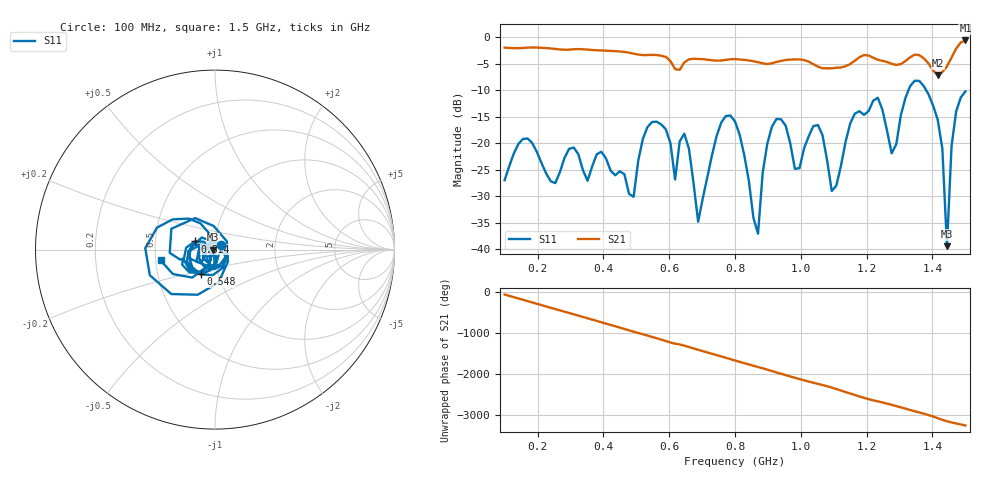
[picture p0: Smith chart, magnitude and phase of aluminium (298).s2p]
! NanoVNA-App
! Date: 2025-09-25 14:57:36
! Start: 100MHz Stop: 1,5GHz Points: 101
! S-Parameter data: F S11 S21 S12 S22
# Hz S RI R 50
!  Frequency  S11_Real  S11_Imag  S21_Real  S21_Imag  S12_Real  S12_Imag  S22_Real  S22_Imag
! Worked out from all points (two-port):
!   101 points, 100 MHz to 1.5 GHz, reference 50 ohm
!   highest |S21| = -0.57 dB at 1.5 GHz (marker M1); lowest = -7.1 dB at 1.416 GHz (marker M2)
!   |S21| within 3 dB of the highest: start of sweep to 583.1 MHz; 1.46 GHz to end of sweep (the widest 2 of 4)
!   lowest |S11| = -39.4 dB at 1.444 GHz (marker M3), VSWR 1.02, Z = 48.9 - j0.01 ohm
!   |S11| at or under -10 dB: start of sweep to 1.327 GHz; 1.381 GHz to end of sweep
!   S12 and S22 are empty: the file has one direction only
!   S11 on the Smith chart (normalised r, x): 100 MHz: 1.07, +0.06; 548 MHz: 0.82, -0.23; 814 MHz: 0.80, +0.07; 1.5 GHz: 0.53, -0.07
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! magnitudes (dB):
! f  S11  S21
! 100 MHz  -27.0  -1.9
! 338 MHz  -25.1  -2.2
! 492 MHz  -30.1  -3.1
! 548 MHz  -16.0  -3.3
! 576 MHz  -16.4  -3.5
! 618 MHz  -26.8  -6.0
! 646 MHz  -18.2  -4.7
! 688 MHz  -34.8  -4.1
! 800 MHz  -15.9  -4.1
! 814 MHz  -18.3  -4.2
! 870 MHz  -37.1  -4.7
! 912 MHz  -16.9  -4.9
! 982 MHz  -24.8  -4.2
! 1.038 GHz  -16.7  -5.1
! 1.094 GHz  -29.0  -5.8
! 1.234 GHz  -11.4  -4.2
! 1.276 GHz  -21.9  -5.0
! 1.346 GHz  -8.2  -3.2
! 1.416 GHz  -15.5  -7.1
! 1.444 GHz  -39.4  -5.5
! 1.458 GHz  -20.5  -3.8
! 1.5 GHz  -10.2  -0.6
